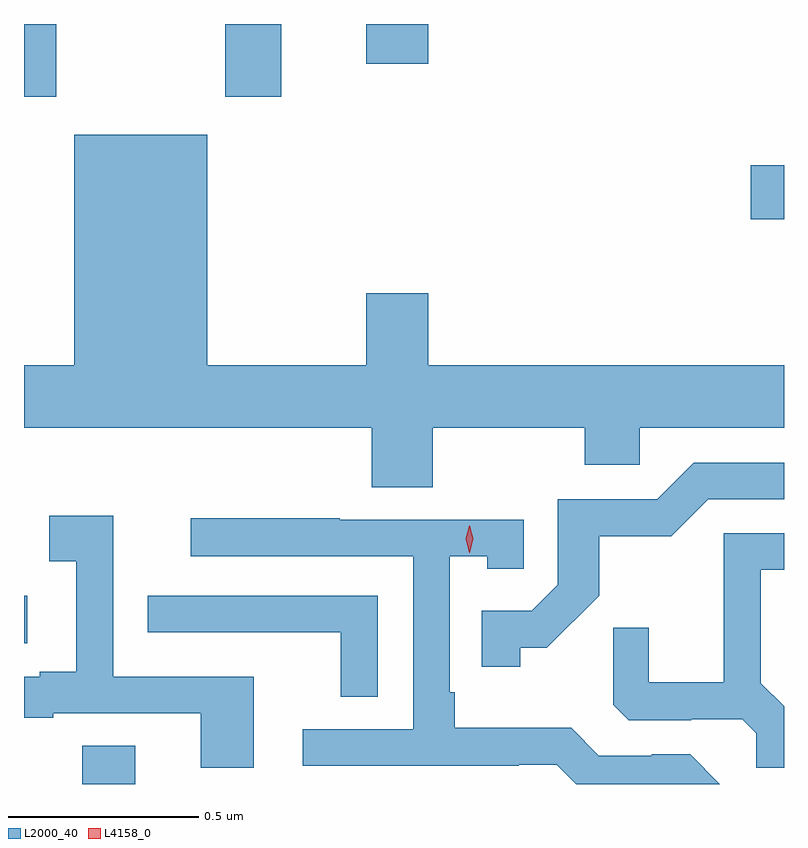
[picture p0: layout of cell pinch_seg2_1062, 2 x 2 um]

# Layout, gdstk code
import gdstk
lib = gdstk.Library(unit=1e-6, precision=1e-09)
def R(c, l, rs):  # rectangles x0, y0, x1, y1
    for r in rs: c.add(gdstk.rectangle(r[:2], r[2:], *l))
def P(c, l, *ps):  # polygons
    for p in ps: c.add(gdstk.Polygon(p, *l))
L2000_40 = (2000, 40)
L4158_0 = (4158, 0)

pinch_seg2_1062 = lib.new_cell('pinch_seg2_1062')
R(pinch_seg2_1062, L2000_40, [(272.153,584.094,272.293,584.195), (272,584.465,272.008,584.589), (273.912,585.58,274,585.722), (272,585.903,272.085,586.094), (272.53,585.903,272.677,586.094), (272.9,585.99,273.064,586.094)])
P(pinch_seg2_1062, L2000_40, [(273.075,585.032),(273.475,585.032),(273.475,584.934),(273.621,584.934),(273.621,585.032),(274,585.032),(274,585.196),(273.064,585.196),(273.064,585.385),(272.9,585.385),(272.9,585.196),(272.482,585.196),(272.482,585.802),(272.132,585.802),(272.132,585.196),(272,585.196),(272,585.032),(272.915,585.032),(272.915,584.875),(273.075,584.875)],
  [(273.306,584.453),(273.376,584.453),(273.514,584.59),(273.514,584.746),(273.703,584.746),(273.801,584.844),(274,584.844),(274,584.94),(273.762,584.94),(273.666,584.844),(273.405,584.844),(273.405,584.619),(273.336,584.55),(273.205,584.55),(273.205,584.403),(273.306,584.403)],
  [(272.605,584.376),(272.235,584.376),(272.235,584.8),(272.067,584.8),(272.067,584.68),(272.138,584.68),(272.138,584.389),(272.042,584.389),(272.042,584.376),(272,584.376),(272,584.268),(272.077,584.268),(272.077,584.28),(272.465,584.28),(272.465,584.137),(272.605,584.137)],
  [(273.753,584.172),(273.652,584.172),(273.652,584.169),(273.513,584.169),(273.44,584.242),(273.133,584.242),(273.133,584.335),(273.12,584.335),(273.12,584.693),(273.219,584.693),(273.219,584.661),(273.315,584.661),(273.315,584.79),(272.831,584.79),(272.831,584.793),(272.439,584.793),(272.439,584.694),(273.024,584.694),(273.024,584.238),(272.733,584.238),(272.733,584.142),(273.302,584.142),(273.302,584.145),(273.402,584.145),(273.453,584.094),(273.831,584.094)],
  [(274,584.298),(273.939,584.359),(273.939,584.658),(274,584.658),(274,584.754),(273.842,584.754),(273.842,584.362),(273.644,584.362),(273.644,584.505),(273.55,584.505),(273.55,584.303),(273.591,584.262),(273.756,584.262),(273.756,584.265),(273.89,584.265),(273.927,584.228),(273.927,584.137),(274,584.137)],
  [(272.931,584.589),(272.325,584.589),(272.325,584.494),(272.437,584.494),(272.437,584.493),(272.833,584.493),(272.833,584.323),(272.931,584.323)])
P(pinch_seg2_1062, L4158_0, [(273.172,584.703),(273.172,584.703),(273.162,584.739),(273.172,584.774),(273.172,584.774),(273.173,584.774),(273.182,584.739),(273.173,584.703)])

lib.write_gds('pinch_seg2_1062.gds')
